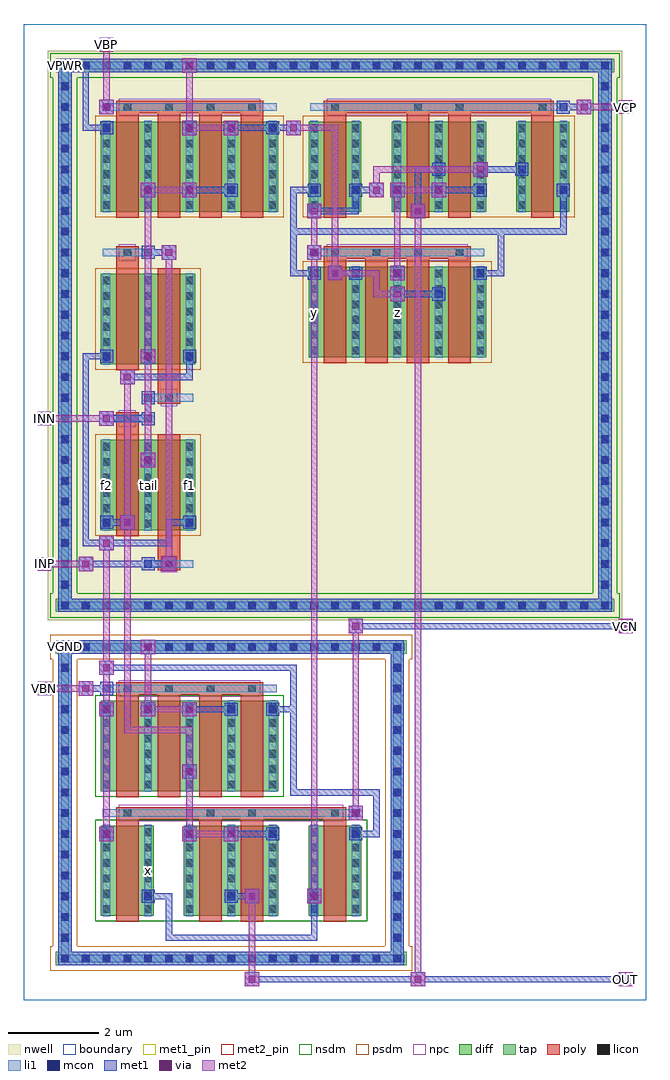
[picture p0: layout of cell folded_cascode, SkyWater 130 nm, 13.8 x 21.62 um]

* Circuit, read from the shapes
.subckt folded_cascode INN INP OUT VBN VBP VCN VCP VGND VPWR f1 f2 tail x y z
XM1 x VCN f1 VGND sky130_fd_pr__nfet_01v8 w=2 l=0.5 m=2
XM2 VGND VBN f1 VGND sky130_fd_pr__nfet_01v8 w=2 l=0.5 m=2
XM3 f2 VBN VGND VGND sky130_fd_pr__nfet_01v8 w=2 l=0.5 m=2
XM4 OUT VCN f2 VGND sky130_fd_pr__nfet_01v8 w=2 l=0.5 m=2
XM5 tail INN f2 VPWR sky130_fd_pr__pfet_01v8 w=2 l=0.5 m=2
XM6 tail INP f1 VPWR sky130_fd_pr__pfet_01v8 w=2 l=0.5 m=2
XM7 tail VBP VPWR VPWR sky130_fd_pr__pfet_01v8 w=2 l=0.5 m=4
XM8 VPWR x y VPWR sky130_fd_pr__pfet_01v8 w=2 l=0.5 m=2
XM9 x VCP y VPWR sky130_fd_pr__pfet_01v8 w=2 l=0.5 m=2
XM10 z x VPWR VPWR sky130_fd_pr__pfet_01v8 w=2 l=0.5 m=2
XM11 OUT VCP z VPWR sky130_fd_pr__pfet_01v8 w=2 l=0.5 m=2
.ends

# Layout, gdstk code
import gdstk
lib = gdstk.Library(unit=1e-6, precision=1e-09)
def R(c, l, rs):  # rectangles x0, y0, x1, y1
    for r in rs: c.add(gdstk.rectangle(r[:2], r[2:], *l))
def A(c, l, x, y, w, h, nx, ny, dx, dy):  # array of equal rectangles
    R(c, l, [(x+i*dx, y+j*dy, x+i*dx+w, y+j*dy+h) for i in range(nx) for j in range(ny)])
nwell = (64, 20)
diff = (65, 20)
tap = (65, 44)
poly = (66, 20)
licon = (66, 44)
li1 = (67, 20)
mcon = (67, 44)
met1_pin = (68, 16)
met1 = (68, 20)
via = (68, 44)
met2_pin = (69, 16)
met2 = (69, 20)
nsdm = (93, 44)
psdm = (94, 20)
npc = (95, 20)
boundary = (235, 4)

folded_cascode = lib.new_cell('folded_cascode')
R(folded_cascode, nwell, [(0.535,8.415,13.265,21.025)])
R(folded_cascode, diff, [(1.715,1.865,2.885,3.865), (3.555,1.865,5.645,3.865), (6.315,1.865,7.485,3.865), (1.715,4.625,5.645,6.625), (1.715,10.405,3.805,12.405), (1.715,14.085,3.805,16.085), (6.315,14.24,10.245,16.24), (1.715,17.46,5.645,19.46), (6.315,17.46,7.485,19.46), (8.155,17.46,10.245,19.46), (10.915,17.46,12.085,19.46)])
R(folded_cascode, tap, [(0.715,0.775,8.485,1.065), (0.775,0.775,1.065,7.965), (8.135,0.775,8.425,7.965), (0.715,7.675,8.485,7.965), (0.715,8.595,13.085,8.885), (0.775,8.595,1.065,20.845), (12.735,8.595,13.025,20.845), (0.715,20.555,13.085,20.845)])
A(folded_cascode, poly, 2.05, 4.495, 0.5, 2.405, 4, 1, 0.92, 0)
A(folded_cascode, poly, 6.65, 14.11, 0.5, 2.45, 4, 1, 0.92, 0)
A(folded_cascode, poly, 2.05, 17.33, 0.5, 2.45, 4, 1, 0.92, 0)
R(folded_cascode, poly, [(2.05,1.735,2.55,4.14), (3.89,1.735,4.39,4.14), (4.81,1.735,5.31,4.14), (6.65,1.735,7.15,4.14), (2.05,4.005,7.15,4.275), (2.05,6.765,5.31,7.035), (2.97,9.525,3.47,9.795), (2.97,9.66,3.47,12.535), (2.05,10.275,2.55,12.88), (2.05,12.745,2.55,13.015), (2.97,13.205,3.47,13.475), (2.97,13.34,3.47,16.215), (2.05,13.955,2.55,16.56), (2.05,16.425,2.55,16.695), (6.65,16.425,9.91,16.695), (6.65,17.33,7.15,19.78), (8.49,17.33,8.99,19.78), (9.41,17.33,9.91,19.78), (11.25,17.33,11.75,19.78), (2.05,19.645,5.31,19.915), (6.65,19.645,11.75,19.915)])
A(folded_cascode, licon, 0.835, 0.835, 0.17, 0.17, 17, 2, 0.46, 6.9)
A(folded_cascode, licon, 0.835, 1.295, 0.17, 0.17, 1, 14, 0, 0.46)
A(folded_cascode, licon, 8.195, 1.295, 0.17, 0.17, 1, 14, 0, 0.46)
A(folded_cascode, licon, 1.755, 1.93, 0.17, 0.17, 7, 6, 0.92, 0.34)
A(folded_cascode, licon, 1.755, 4.69, 0.17, 0.17, 5, 6, 0.92, 0.34)
A(folded_cascode, licon, 2.215, 6.815, 0.17, 0.17, 4, 2, 0.92, 12.88)
A(folded_cascode, licon, 0.835, 8.655, 0.17, 0.17, 27, 2, 0.46, 11.96)
A(folded_cascode, licon, 0.835, 9.115, 0.17, 0.17, 1, 25, 0, 0.46)
A(folded_cascode, licon, 12.795, 9.115, 0.17, 0.17, 1, 25, 0, 0.46)
A(folded_cascode, licon, 1.755, 10.47, 0.17, 0.17, 3, 6, 0.92, 0.34)
A(folded_cascode, licon, 1.755, 14.15, 0.17, 0.17, 3, 6, 0.92, 0.34)
A(folded_cascode, licon, 6.355, 14.305, 0.17, 0.17, 5, 6, 0.92, 0.34)
A(folded_cascode, licon, 6.815, 16.475, 0.17, 0.17, 4, 1, 0.92, 0)
A(folded_cascode, licon, 1.755, 17.525, 0.17, 0.17, 12, 6, 0.92, 0.34)
R(folded_cascode, licon, [(2.215,4.055,2.385,4.225), (4.055,4.055,4.225,4.225), (4.975,4.055,5.145,4.225), (6.815,4.055,6.985,4.225), (3.135,9.575,3.305,9.745), (2.215,12.795,2.385,12.965), (3.135,13.255,3.305,13.425), (2.215,16.475,2.385,16.645), (6.815,19.695,6.985,19.865), (8.655,19.695,8.825,19.865), (9.575,19.695,9.745,19.865), (11.415,19.695,11.585,19.865)])
A(folded_cascode, li1, 1.755, 1.85, 0.17, 2.03, 7, 1, 0.92, 0)
A(folded_cascode, li1, 1.755, 4.61, 0.17, 2.03, 5, 1, 0.92, 0)
A(folded_cascode, li1, 1.755, 10.39, 0.17, 2.03, 3, 2, 0.92, 3.68)
A(folded_cascode, li1, 6.355, 14.225, 0.17, 2.03, 5, 1, 0.92, 0)
A(folded_cascode, li1, 1.755, 17.445, 0.17, 2.03, 12, 1, 0.92, 0)
R(folded_cascode, li1, [(0.755,0.835,8.445,1.005), (0.835,0.835,1.005,7.905), (8.195,0.835,8.365,7.905), (1.755,4.055,7.445,4.225), (1.755,6.815,5.605,6.985), (0.755,7.735,8.445,7.905), (0.755,8.655,13.045,8.825), (0.835,8.655,1.005,20.785), (12.795,8.655,12.965,20.785), (2.675,9.575,3.765,9.745), (1.755,12.795,2.845,12.965), (2.675,13.255,3.765,13.425), (1.755,16.475,2.845,16.645), (6.355,16.475,10.205,16.645), (1.755,19.695,5.605,19.865), (6.355,19.695,12.045,19.865), (0.755,20.615,13.045,20.785)])
A(folded_cascode, mcon, 0.835, 0.835, 0.17, 0.17, 17, 2, 0.46, 6.9)
A(folded_cascode, mcon, 0.835, 2.215, 0.17, 0.17, 5, 1, 1.84, 0)
A(folded_cascode, mcon, 0.835, 2.675, 0.17, 0.17, 1, 8, 0, 0.46)
A(folded_cascode, mcon, 8.195, 2.675, 0.17, 0.17, 1, 11, 0, 0.46)
A(folded_cascode, mcon, 1.755, 3.595, 0.17, 0.17, 4, 1, 1.84, 0)
A(folded_cascode, mcon, 0.835, 6.355, 0.17, 0.17, 3, 1, 0.92, 0)
A(folded_cascode, mcon, 0.835, 8.655, 0.17, 0.17, 27, 2, 0.46, 11.96)
A(folded_cascode, mcon, 0.835, 9.115, 0.17, 0.17, 1, 11, 0, 0.46)
A(folded_cascode, mcon, 12.795, 9.115, 0.17, 0.17, 1, 20, 0, 0.46)
A(folded_cascode, mcon, 0.835, 14.175, 0.17, 0.17, 4, 1, 0.92, 0)
A(folded_cascode, mcon, 0.835, 14.635, 0.17, 0.17, 1, 7, 0, 0.46)
A(folded_cascode, mcon, 6.355, 16.015, 0.17, 0.17, 3, 1, 0.92, 0)
A(folded_cascode, mcon, 0.835, 17.855, 0.17, 0.17, 4, 1, 1.84, 0)
A(folded_cascode, mcon, 8.195, 17.855, 0.17, 0.17, 3, 1, 1.84, 0)
A(folded_cascode, mcon, 0.835, 18.315, 0.17, 0.17, 1, 5, 0, 0.46)
A(folded_cascode, mcon, 9.115, 18.315, 0.17, 0.17, 3, 1, 1.84, 0)
A(folded_cascode, mcon, 12.795, 18.775, 0.17, 0.17, 1, 4, 0, 0.46)
A(folded_cascode, mcon, 1.755, 19.235, 0.17, 0.17, 3, 1, 1.84, 0)
R(folded_cascode, mcon, [(0.835,1.295,1.005,1.465), (8.195,1.295,8.365,1.465), (0.835,1.755,1.005,1.925), (8.195,1.755,8.365,1.925), (7.275,4.055,7.445,4.225), (3.595,4.975,3.765,5.145), (4.515,6.355,4.685,6.525), (5.435,6.355,5.605,6.525), (0.835,6.815,1.005,6.985), (1.755,6.815,1.925,6.985), (0.835,7.275,1.005,7.445), (2.675,9.575,2.845,9.745), (1.755,10.495,1.925,10.665), (3.595,10.495,3.765,10.665), (2.675,11.875,2.845,12.045), (2.675,12.795,2.845,12.965), (2.675,13.255,2.845,13.425), (9.115,15.555,9.285,15.725), (10.035,16.015,10.205,16.185), (2.675,16.475,2.845,16.645), (6.355,16.475,6.525,16.645), (7.275,17.855,7.445,18.025), (1.755,19.695,1.925,19.865), (11.875,19.695,12.045,19.865)])
R(folded_cascode, met1_pin, [(0.85,7.75,0.99,7.89), (0.85,20.63,0.99,20.77)])
A(folded_cascode, met1, 2.615, 2.155, 0.29, 0.29, 3, 2, 1.84, 15.64)
A(folded_cascode, met1, 1.695, 3.535, 0.29, 0.29, 4, 1, 1.84, 0)
A(folded_cascode, met1, 1.68, 6.28, 0.32, 0.32, 3, 1, 0.92, 0)
A(folded_cascode, met1, 1.68, 7.2, 0.32, 0.32, 1, 3, 0, 2.76)
A(folded_cascode, met1, 1.695, 14.115, 0.29, 0.29, 3, 1, 0.92, 0)
A(folded_cascode, met1, 6.295, 15.955, 0.29, 0.29, 3, 1, 0.92, 0)
A(folded_cascode, met1, 3.52, 17.78, 0.32, 0.32, 1, 3, 0, 1.38)
A(folded_cascode, met1, 8.135, 17.795, 0.29, 0.29, 3, 1, 1.84, 0)
A(folded_cascode, met1, 1.695, 19.175, 0.29, 0.29, 3, 1, 1.84, 0)
R(folded_cascode, met1, [(4.9,0.3,5.22,0.62), (8.58,0.3,8.9,0.62), (13.18,0.3,13.5,0.62), (4.99,0.39,13.41,0.53), (0.775,0.775,8.425,1.065), (0.775,0.775,1.065,7.965), (8.135,0.775,8.425,7.965), (3.15,1.31,3.29,2.37), (3.15,1.31,6.51,1.45), (6.37,1.31,6.51,2.37), (4.9,2.14,5.22,2.46), (6.28,2.14,6.6,2.46), (2.69,2.23,3.29,2.37), (4.53,2.23,5.13,2.37), (1.68,3.52,2,3.84), (3.52,3.52,3.84,3.84), (4.44,3.52,4.76,3.84), (4.53,3.61,5.59,3.75), (7.29,3.61,7.89,3.75), (7.75,3.61,7.89,4.67), (7.2,3.98,7.52,4.3), (7.215,3.995,7.505,4.285), (5.91,4.53,7.89,4.67), (5.91,4.53,6.05,6.51), (3.52,4.9,3.84,5.22), (3.535,4.915,3.825,5.205), (1.695,6.295,1.985,6.585), (2.615,6.295,2.905,6.585), (4.455,6.295,4.745,6.585), (5.375,6.295,5.665,6.585), (3.61,6.37,4.67,6.51), (5.45,6.37,6.05,6.51), (5.91,6.37,6.05,7.43), (1.22,6.74,1.54,7.06), (1.695,6.755,1.985,7.045), (1.31,6.83,1.91,6.97), (1.77,7.29,6.05,7.43), (2.6,7.66,2.92,7.98), (0.775,7.675,8.425,7.965), (0.85,7.75,2.83,7.89), (0.85,7.75,0.99,7.89), (2.69,7.75,2.83,7.89), (7.2,8.12,7.52,8.44), (13.18,8.12,13.5,8.44), (7.29,8.21,13.41,8.35), (0.775,8.595,13.025,8.885), (0.775,8.595,1.065,20.845), (12.735,8.595,13.025,20.845), (1.22,9.5,1.54,9.82), (3.06,9.5,3.38,9.82), (2.615,9.515,2.905,9.805), (1.31,9.59,2.83,9.73), (2.69,9.59,3.29,9.73), (1.31,10.05,1.45,14.33), (1.31,10.05,3.29,10.19), (3.15,10.05,3.29,10.65), (2.14,10.42,2.46,10.74), (1.695,10.435,1.985,10.725), (3.535,10.435,3.825,10.725), (1.77,10.51,2.37,10.65), (3.15,10.51,3.75,10.65), (2.6,11.8,2.92,12.12), (2.615,11.815,2.905,12.105), (2.615,12.735,2.905,13.025), (1.77,12.81,2.83,12.95), (2.69,12.81,2.83,13.41), (2.615,13.195,2.905,13.485), (2.14,13.64,2.46,13.96), (2.23,13.73,3.75,13.87), (3.61,13.73,3.75,14.33), (2.6,14.1,2.92,14.42), (1.31,14.19,1.91,14.33), (8.12,15.48,8.44,15.8), (9.055,15.495,9.345,15.785), (8.21,15.57,9.27,15.71), (6.74,15.94,7.06,16.26), (8.12,15.94,8.44,16.26), (9.975,15.955,10.265,16.245), (5.91,16.03,6.51,16.17), (5.91,16.03,6.05,18.01), (6.83,16.03,7.43,16.17), (10.05,16.03,10.65,16.17), (10.51,16.03,10.65,17.09), (3.06,16.4,3.38,16.72), (6.28,16.4,6.6,16.72), (2.615,16.415,2.905,16.705), (6.295,16.415,6.585,16.705), (2.69,16.49,3.29,16.63), (5.91,16.95,10.65,17.09), (10.51,16.95,12.03,17.09), (11.89,16.95,12.03,18.01), (6.28,17.32,6.6,17.64), (8.58,17.32,8.9,17.64), (6.37,17.41,7.43,17.55), (7.29,17.41,7.43,18.01), (8.67,17.41,8.81,18.47), (2.6,17.78,2.92,18.1), (7.66,17.78,7.98,18.1), (8.12,17.78,8.44,18.1), (9.04,17.78,9.36,18.1), (7.215,17.795,7.505,18.085), (3.61,17.87,4.67,18.01), (5.91,17.87,6.51,18.01), (7.29,17.87,7.89,18.01), (9.13,17.87,10.19,18.01), (9.96,18.24,10.28,18.56), (9.055,18.255,9.345,18.545), (10.895,18.255,11.185,18.545), (8.67,18.33,9.27,18.47), (10.05,18.33,11.11,18.47), (4.44,19.16,4.76,19.48), (5.82,19.16,6.14,19.48), (1.31,19.25,1.91,19.39), (1.31,19.25,1.45,20.77), (4.53,19.25,5.59,19.39), (5.45,19.25,6.05,19.39), (1.68,19.62,2,19.94), (12.26,19.62,12.58,19.94), (1.695,19.635,1.985,19.925), (11.815,19.635,12.105,19.925), (11.89,19.71,12.49,19.85), (0.775,20.555,13.025,20.845), (0.85,20.63,0.99,20.77), (0.85,20.63,3.75,20.77), (3.61,20.63,3.75,20.77)])
A(folded_cascode, via, 1.765, 6.365, 0.15, 0.15, 3, 1, 0.92, 0)
A(folded_cascode, via, 1.765, 7.285, 0.15, 0.15, 1, 3, 0, 2.76)
A(folded_cascode, via, 3.605, 17.865, 0.15, 0.15, 1, 3, 0, 1.38)
R(folded_cascode, via, [(4.985,0.385,5.135,0.535), (8.665,0.385,8.815,0.535), (13.265,0.385,13.415,0.535), (4.985,2.225,5.135,2.375), (6.365,2.225,6.515,2.375), (1.765,3.605,1.915,3.755), (3.605,3.605,3.755,3.755), (4.525,3.605,4.675,3.755), (7.285,4.065,7.435,4.215), (3.605,4.985,3.755,5.135), (1.305,6.825,1.455,6.975), (2.685,7.745,2.835,7.895), (7.285,8.205,7.435,8.355), (13.265,8.205,13.415,8.355), (1.305,9.585,1.455,9.735), (3.145,9.585,3.295,9.735), (2.225,10.505,2.375,10.655), (2.685,11.885,2.835,12.035), (2.225,13.725,2.375,13.875), (2.685,14.185,2.835,14.335), (8.205,15.565,8.355,15.715), (6.825,16.025,6.975,16.175), (8.205,16.025,8.355,16.175), (3.145,16.485,3.295,16.635), (6.365,16.485,6.515,16.635), (6.365,17.405,6.515,17.555), (8.665,17.405,8.815,17.555), (2.685,17.865,2.835,18.015), (7.745,17.865,7.895,18.015), (8.205,17.865,8.355,18.015), (9.125,17.865,9.275,18.015), (10.045,18.325,10.195,18.475), (4.525,19.245,4.675,19.395), (5.905,19.245,6.055,19.395), (1.765,19.705,1.915,19.855), (12.345,19.705,12.495,19.855)])
R(folded_cascode, met2_pin, [(13.19,0.31,13.49,0.61), (0.31,6.75,0.61,7.05), (13.19,8.13,13.49,8.43), (0.31,9.51,0.61,9.81), (0.31,12.73,0.61,13.03), (13.19,19.63,13.49,19.93), (1.69,21.01,1.99,21.31)])
A(folded_cascode, met2, 1.68, 6.28, 0.32, 0.32, 3, 1, 0.92, 0)
A(folded_cascode, met2, 1.68, 7.2, 0.32, 0.32, 1, 3, 0, 2.76)
A(folded_cascode, met2, 3.52, 17.78, 0.32, 0.32, 1, 3, 0, 1.38)
R(folded_cascode, met2, [(4.9,0.3,5.22,0.62), (8.58,0.3,8.9,0.62), (13.18,0.3,13.5,0.62), (13.19,0.31,13.49,0.61), (4.99,0.39,5.13,2.37), (8.67,0.39,8.81,17.55), (13.27,0.39,13.41,0.53), (4.9,2.14,5.22,2.46), (6.28,2.14,6.6,2.46), (6.37,2.23,6.51,16.63), (1.68,3.52,2,3.84), (3.52,3.52,3.84,3.84), (4.44,3.52,4.76,3.84), (1.77,3.61,1.91,6.51), (3.61,3.61,4.67,3.75), (3.61,3.61,3.75,5.13), (7.2,3.98,7.52,4.3), (7.29,4.07,7.43,8.35), (3.52,4.9,3.84,5.22), (3.61,4.99,3.75,6.05), (2.23,5.91,3.75,6.05), (2.23,5.91,2.37,10.65), (1.77,6.37,1.91,10.19), (2.69,6.37,3.75,6.51), (2.69,6.37,2.83,7.89), (1.22,6.74,1.54,7.06), (0.31,6.75,0.61,7.05), (0.39,6.83,1.45,6.97), (0.39,6.83,0.53,6.97), (2.6,7.66,2.92,7.98), (7.2,8.12,7.52,8.44), (13.18,8.12,13.5,8.44), (13.19,8.13,13.49,8.43), (13.27,8.21,13.41,8.35), (1.22,9.5,1.54,9.82), (3.06,9.5,3.38,9.82), (0.31,9.51,0.61,9.81), (0.39,9.59,1.45,9.73), (0.39,9.59,0.53,9.73), (3.15,9.59,3.29,16.63), (2.14,10.42,2.46,10.74), (2.23,10.51,2.37,13.87), (2.6,11.8,2.92,12.12), (2.69,11.89,2.83,14.33), (0.31,12.73,0.61,13.03), (0.39,12.81,0.53,12.95), (0.39,12.81,1.91,12.95), (2.14,13.64,2.46,13.96), (2.6,14.1,2.92,14.42), (2.69,14.19,2.83,18.01), (8.12,15.48,8.44,15.8), (7.75,15.57,7.89,16.17), (7.75,15.57,8.35,15.71), (6.74,15.94,7.06,16.26), (8.12,15.94,8.44,16.26), (6.83,16.03,7.89,16.17), (6.83,16.03,6.97,19.39), (8.21,16.03,8.35,18.01), (3.06,16.4,3.38,16.72), (6.28,16.4,6.6,16.72), (6.37,16.49,6.51,17.55), (6.28,17.32,6.6,17.64), (8.58,17.32,8.9,17.64), (2.6,17.78,2.92,18.1), (7.66,17.78,7.98,18.1), (8.12,17.78,8.44,18.1), (9.04,17.78,9.36,18.1), (2.69,17.87,3.75,18.01), (7.75,17.87,7.89,18.47), (8.21,17.87,9.27,18.01), (9.96,18.24,10.28,18.56), (7.75,18.33,10.19,18.47), (4.44,19.16,4.76,19.48), (5.82,19.16,6.14,19.48), (3.61,19.25,4.67,19.39), (3.61,19.25,3.75,20.77), (5.91,19.25,6.97,19.39), (1.68,19.62,2,19.94), (12.26,19.62,12.58,19.94), (13.19,19.63,13.49,19.93), (1.77,19.71,1.91,21.23), (12.35,19.71,13.41,19.85), (13.27,19.71,13.41,19.85), (1.69,21.01,1.99,21.31), (1.77,21.09,1.91,21.23)])
R(folded_cascode, nsdm, [(1.59,1.74,7.61,3.99), (1.59,4.5,5.77,6.75), (0.59,8.47,13.21,9.01), (0.65,9.01,1.19,20.43), (12.61,9.01,13.15,20.43), (0.59,20.43,13.21,20.97)])
R(folded_cascode, psdm, [(0.59,0.65,8.61,1.19), (0.65,1.19,1.19,7.55), (8.01,1.19,8.55,7.55), (0.59,7.55,8.61,8.09), (1.59,10.28,3.93,12.53), (1.59,13.96,3.93,16.21), (6.19,14.115,10.37,16.365), (1.59,17.335,5.77,19.585), (6.19,17.335,12.21,19.585)])
R(folded_cascode, npc, [(2.115,3.955,7.085,4.325), (2.115,6.715,5.245,7.085), (3.035,9.475,3.405,9.845), (2.115,12.695,2.485,13.065), (3.035,13.155,3.405,13.525), (2.115,16.375,2.485,16.745), (6.715,16.375,9.845,16.745), (2.115,19.595,5.245,19.965), (6.715,19.595,11.685,19.965)])
R(folded_cascode, boundary, [(0,0,13.8,21.62)])
folded_cascode.add(gdstk.Label('f2', (1.84,11.405), layer=67, texttype=5))
folded_cascode.add(gdstk.Label('tail', (2.76,11.405), layer=67, texttype=5))
folded_cascode.add(gdstk.Label('f1', (3.68,11.405), layer=67, texttype=5))
folded_cascode.add(gdstk.Label('x', (2.76,2.865), layer=67, texttype=5))
folded_cascode.add(gdstk.Label('y', (6.44,15.24), layer=67, texttype=5))
folded_cascode.add(gdstk.Label('z', (8.28,15.24), layer=67, texttype=5))
folded_cascode.add(gdstk.Label('VPWR', (0.92,20.7), layer=68, texttype=5))
folded_cascode.add(gdstk.Label('VGND', (0.92,7.82), layer=68, texttype=5))
folded_cascode.add(gdstk.Label('INP', (0.46,9.66), layer=69, texttype=5))
folded_cascode.add(gdstk.Label('INN', (0.46,12.88), layer=69, texttype=5))
folded_cascode.add(gdstk.Label('VBN', (0.46,6.9), layer=69, texttype=5))
folded_cascode.add(gdstk.Label('VCN', (13.34,8.28), layer=69, texttype=5))
folded_cascode.add(gdstk.Label('VBP', (1.84,21.16), layer=69, texttype=5))
folded_cascode.add(gdstk.Label('VCP', (13.34,19.78), layer=69, texttype=5))
folded_cascode.add(gdstk.Label('OUT', (13.34,0.46), layer=69, texttype=5))
folded_cascode.add(gdstk.Label('VPWR', (0.92,20.7), layer=68, texttype=16))
folded_cascode.add(gdstk.Label('VGND', (0.92,7.82), layer=68, texttype=16))
folded_cascode.add(gdstk.Label('INP', (0.46,9.66), layer=69, texttype=16))
folded_cascode.add(gdstk.Label('INN', (0.46,12.88), layer=69, texttype=16))
folded_cascode.add(gdstk.Label('VBN', (0.46,6.9), layer=69, texttype=16))
folded_cascode.add(gdstk.Label('VCN', (13.34,8.28), layer=69, texttype=16))
folded_cascode.add(gdstk.Label('VBP', (1.84,21.16), layer=69, texttype=16))
folded_cascode.add(gdstk.Label('VCP', (13.34,19.78), layer=69, texttype=16))
folded_cascode.add(gdstk.Label('OUT', (13.34,0.46), layer=69, texttype=16))

lib.write_gds('folded_cascode.gds')
